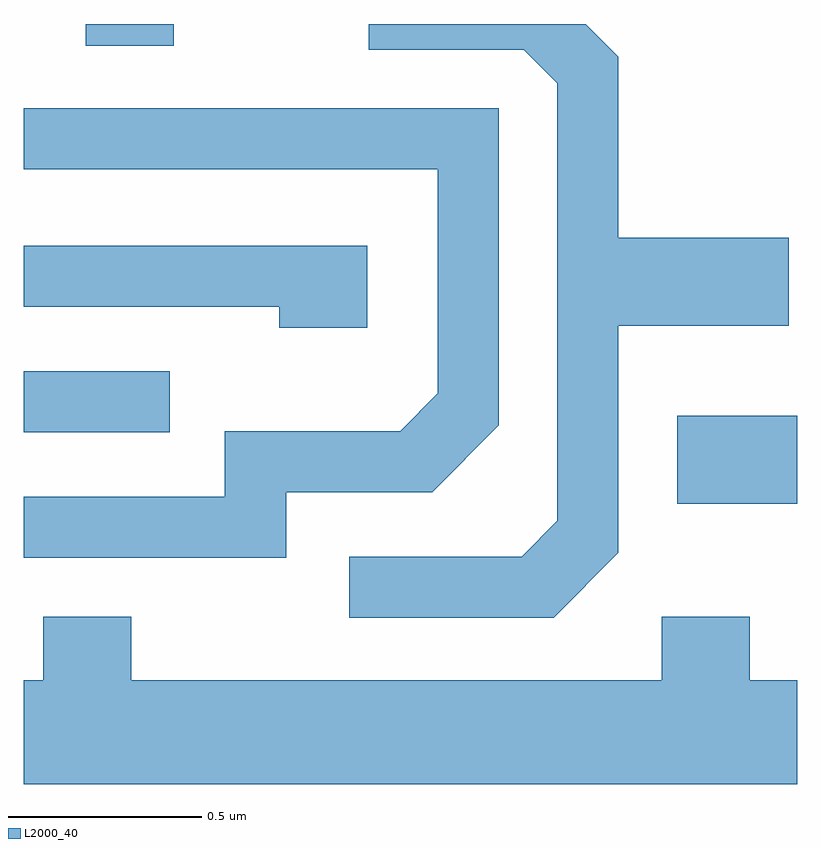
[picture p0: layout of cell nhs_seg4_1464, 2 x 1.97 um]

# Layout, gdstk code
import gdstk
lib = gdstk.Library(unit=1e-6, precision=1e-09)
def R(c, l, rs):  # rectangles x0, y0, x1, y1
    for r in rs: c.add(gdstk.rectangle(r[:2], r[2:], *l))
def P(c, l, *ps):  # polygons
    for p in ps: c.add(gdstk.Polygon(p, *l))
L2000_40 = (2000, 40)

nhs_seg4_1464 = lib.new_cell('nhs_seg4_1464')
R(nhs_seg4_1464, L2000_40, [(197.301,1348.741,197.611,1348.969), (195.611,1348.926,195.988,1349.084), (195.771,1349.926,195.999,1349.982)])
P(nhs_seg4_1464, L2000_40, [(197.149,1348.614),(197.149,1349.201),(197.589,1349.201),(197.589,1349.429),(197.149,1349.429),(197.149,1349.897),(197.064,1349.982),(196.503,1349.982),(196.503,1349.916),(196.904,1349.916),(196.991,1349.829),(196.991,1348.697),(196.899,1348.604),(196.453,1348.604),(196.453,1348.446),(196.982,1348.446)],
  [(196.289,1348.771),(196.667,1348.771),(196.839,1348.944),(196.839,1349.764),(195.611,1349.764),(195.611,1349.606),(196.681,1349.606),(196.681,1349.027),(196.584,1348.929),(196.131,1348.929),(196.131,1348.759),(195.611,1348.759),(195.611,1348.601),(196.289,1348.601)],
  [(196.499,1349.409),(195.611,1349.409),(195.611,1349.251),(196.271,1349.251),(196.271,1349.196),(196.499,1349.196)],
  [(197.611,1348.284),(197.489,1348.284),(197.489,1348.449),(197.261,1348.449),(197.261,1348.284),(195.889,1348.284),(195.889,1348.449),(195.661,1348.449),(195.661,1348.284),(195.611,1348.284),(195.611,1348.016),(197.611,1348.016)])

lib.write_gds('nhs_seg4_1464.gds')
